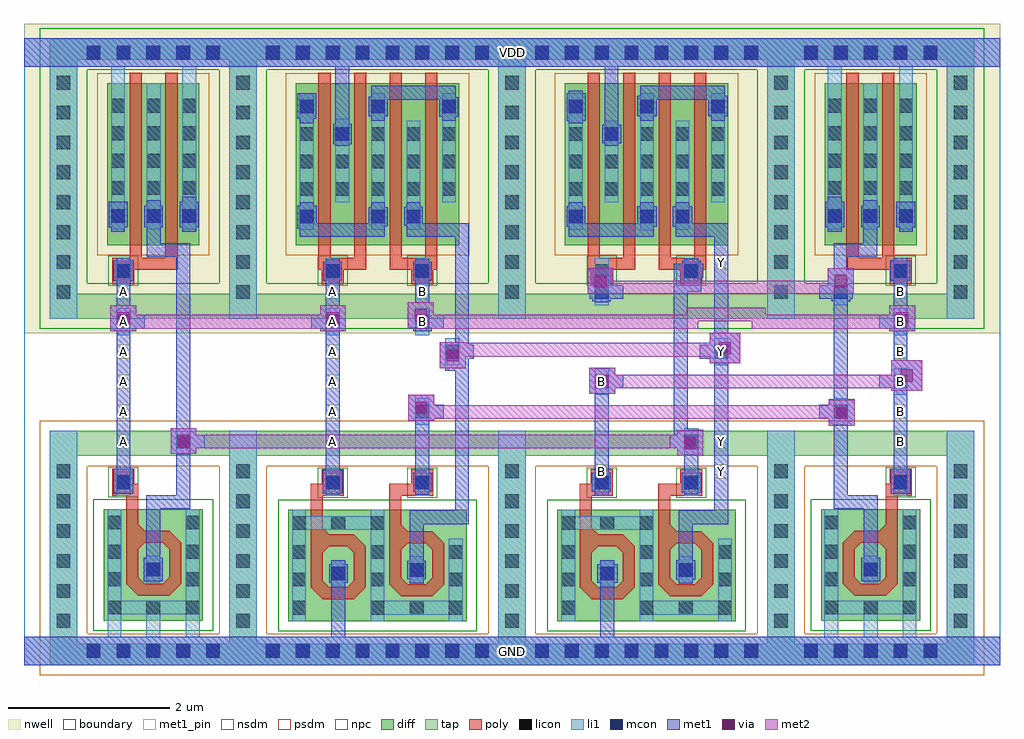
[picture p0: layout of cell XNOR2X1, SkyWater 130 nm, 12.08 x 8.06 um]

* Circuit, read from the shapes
.subckt XNOR2X1 A B GND VDD Y
XM1 GND A n1 GND sky130_fd_pr__nfet_01v8 w=2.56 l=0.1477
XM2 n2 A GND GND sky130_fd_pr__nfet_01v8 w=2.6 l=0.1475
XM3 n2 n3 Y GND sky130_fd_pr__nfet_01v8 w=2.56 l=0.147
XM4 n4 B GND GND sky130_fd_pr__nfet_01v8 w=2.6 l=0.1466
XM5 n4 n1 Y GND sky130_fd_pr__nfet_01v8 w=2.56 l=0.1472
XM6 GND B n3 GND sky130_fd_pr__nfet_01v8 w=2.56 l=0.1476
XM7 n1 A VDD VDD sky130_fd_pr__pfet_01v8 w=2 l=0.15 m=2
XM8 VDD A n5 VDD sky130_fd_pr__pfet_01v8 w=2 l=0.15 m=2
XM9 Y B n5 VDD sky130_fd_pr__pfet_01v8 w=2 l=0.15 m=2
XM10 VDD n3 n6 VDD sky130_fd_pr__pfet_01v8 w=2 l=0.15 m=2
XM11 Y n1 n6 VDD sky130_fd_pr__pfet_01v8 w=2 l=0.15 m=2
XM12 n3 B VDD VDD sky130_fd_pr__pfet_01v8 w=2 l=0.15 m=2
.ends

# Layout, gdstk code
from math import pi, radians
import gdstk
lib = gdstk.Library(unit=1e-6, precision=1e-09)
def R(c, l, rs):  # rectangles x0, y0, x1, y1
    for r in rs: c.add(gdstk.rectangle(r[:2], r[2:], *l))
def A(c, l, x, y, w, h, nx, ny, dx, dy):  # array of equal rectangles
    R(c, l, [(x+i*dx, y+j*dy, x+i*dx+w, y+j*dy+h) for i in range(nx) for j in range(ny)])
def P(c, l, *ps):  # polygons
    for p in ps: c.add(gdstk.Polygon(p, *l))
nwell = (64, 20)
diff = (65, 20)
tap = (65, 44)
poly = (66, 20)
licon = (66, 44)
li1 = (67, 20)
mcon = (67, 44)
met1_pin = (68, 16)
met1 = (68, 20)
via = (68, 44)
met2 = (69, 20)
nsdm = (93, 44)
psdm = (94, 20)
npc = (95, 20)
boundary = (235, 4)

diff_ring_side = lib.new_cell('diff_ring_side')
R(diff_ring_side, nwell, [(-0.435,3.93,0.435,7.75)])
R(diff_ring_side, tap, [(-0.17,-0.17,0.17,2.72), (-0.17,4.11,0.17,7.57)])
A(diff_ring_side, licon, -0.085, 0.285, 0.17, 0.17, 1, 6, 0, 0.37)
A(diff_ring_side, licon, -0.085, 4.355, 0.17, 0.17, 1, 8, 0, 0.37)
R(diff_ring_side, li1, [(-0.17,-0.17,0.17,2.72), (-0.17,4.11,0.17,7.57)])
R(diff_ring_side, met1, [(-0.17,-0.17,0.17,0.17), (-0.17,7.23,0.17,7.57)])
R(diff_ring_side, nsdm, [(-0.295,3.985,0.295,7.695)])
R(diff_ring_side, psdm, [(-0.295,-0.295,0.295,2.845)])

poly_li1_contact = lib.new_cell('poly_li1_contact')
R(poly_li1_contact, poly, [(-0.16,-0.14,0.17,0.13)])
R(poly_li1_contact, licon, [(-0.08,-0.09,0.09,0.08)])
R(poly_li1_contact, li1, [(-0.16,-0.09,0.17,0.08)])
R(poly_li1_contact, npc, [(-0.18,-0.19,0.19,0.18)])

pmos2 = lib.new_cell('pmos2')
R(pmos2, nwell, [(0.26,-2.18,1.76,0.18)])
R(pmos2, diff, [(0.44,-2,1.58,0)])
R(pmos2, poly, [(0.72,-2.305,1.31,-2.155), (0.72,-2.155,0.87,0.13), (1.16,-2.155,1.31,0.13)])
A(pmos2, licon, 0.49, -1.38, 0.17, 0.17, 3, 4, 0.44, 0.34)
R(pmos2, li1, [(0.49,-1.465,0.66,0.21), (0.93,-1.465,1.1,0), (1.37,-1.465,1.54,0.21)])
R(pmos2, psdm, [(0.315,-2.125,1.705,0.125)])

nmos_top = lib.new_cell('nmos_top')
R(nmos_top, diff, [(0,0,1.23,1.38)])
R(nmos_top, poly, [(0.42,0.31,0.8,0.46), (0.27,0.46,0.42,0.965), (0.8,0.46,0.95,0.965), (0.42,0.965,0.95,1.115), (0.8,1.115,0.95,1.54)])
P(nmos_top, poly, [(0.72,1.115),(0.8,1.115),(0.8,1.195)],
  [(0.27,0.965),(0.42,0.965),(0.42,1.115)],
  [(0.42,0.885),(0.42,0.965),(0.5,0.965)],
  [(0.72,0.965),(0.8,0.965),(0.8,0.885)],
  [(0.42,0.54),(0.42,0.46),(0.5,0.46)],
  [(0.72,0.46),(0.8,0.46),(0.8,0.54)],
  [(0.27,0.46),(0.42,0.46),(0.42,0.31)],
  [(0.8,0.31),(0.8,0.46),(0.95,0.46)])
R(nmos_top, licon, [(0.04,0.08,0.21,0.25), (0.53,0.08,0.7,0.25), (1.01,0.08,1.18,0.25), (0.04,0.43,0.21,0.6), (1.01,0.43,1.18,0.6), (0.53,0.55,0.7,0.72), (0.04,0.77,0.21,0.94), (1.01,0.77,1.18,0.94), (0.04,1.13,0.21,1.3), (1.01,1.13,1.18,1.3)])
R(nmos_top, li1, [(0.04,0,0.21,0.08), (1.01,0,1.18,0.08), (0.04,0.08,1.18,0.25), (0.04,0.25,0.21,1.38), (1.01,0.25,1.18,1.38), (0.53,0.47,0.7,0.805)])
R(nmos_top, nsdm, [(-0.125,-0.125,1.355,1.505)])

invx1_pcell = lib.new_cell('invx1_pcell')
R(invx1_pcell, nwell, [(-0.435,3.93,2.655,7.75)])
A(invx1_pcell, diff, 0.59, 5.295, 0.17, 0.17, 3, 1, 0.44, 0)
R(invx1_pcell, tap, [(0.17,-0.17,2.05,0.085), (0.17,2.41,2.05,2.72), (0.17,4.11,2.05,4.42), (0.17,7.315,2.05,7.57)])
R(invx1_pcell, poly, [(0.775,1.905,0.925,2.065)])
A(invx1_pcell, licon, 0.285, -0.085, 0.17, 0.17, 5, 2, 0.37, 7.4)
A(invx1_pcell, licon, 0.59, 5.295, 0.17, 0.17, 3, 1, 0.44, 0)
A(invx1_pcell, li1, 0.59, 5.215, 0.17, 0.37, 3, 1, 0.44, 0)
R(invx1_pcell, li1, [(-0.17,-0.17,2.33,0.17), (0.545,0.17,0.715,0.42), (1.025,0.17,1.195,0.45), (1.515,0.17,1.685,0.45), (1.025,0.92,1.195,1.09), (0.655,2,0.825,2.17), (0.655,4.615,0.825,4.785), (-0.17,7.23,2.39,7.57)])
A(invx1_pcell, mcon, 0.285, -0.085, 0.17, 0.17, 5, 2, 0.37, 7.4)
A(invx1_pcell, mcon, 0.59, 5.295, 0.17, 0.17, 3, 1, 0.44, 0)
R(invx1_pcell, mcon, [(1.025,0.92,1.195,1.09), (0.655,2,0.825,2.17), (0.655,4.615,0.825,4.785)])
R(invx1_pcell, met1, [(-0.17,-0.17,2.39,0.17), (0.99,0.86,1.23,1.15), (1.025,1.15,1.195,1.755), (1.025,1.755,1.565,1.925), (1.395,1.925,1.565,4.875), (0.615,1.94,0.865,2.25), (0.655,2.25,0.825,4.58), (0.62,4.58,0.87,4.83), (0.655,4.83,0.825,4.865), (1.03,4.875,1.565,5.045), (1.03,5.045,1.2,5.24), (0.59,5.185,0.76,5.24), (1.47,5.185,1.64,5.24), (0.56,5.24,0.795,5.555), (1,5.24,1.23,5.505), (1.44,5.24,1.675,5.555), (1.03,5.505,1.2,5.575), (1.47,5.555,1.64,5.62), (-0.17,7.23,2.39,7.57)])
R(invx1_pcell, nsdm, [(0.045,3.985,2.175,4.545), (0.045,7.19,2.175,7.695)])
R(invx1_pcell, psdm, [(0.045,-0.295,2.175,0.21), (0.045,2.285,2.175,2.845), (0.465,5.17,1.765,5.59)])
invx1_pcell.add(gdstk.Reference(poly_li1_contact, (0.735,2.08), rotation=pi/2))
invx1_pcell.add(gdstk.Reference(poly_li1_contact, (0.745,4.705), rotation=3*pi/2))
invx1_pcell.add(gdstk.Reference(pmos2, (0.1,7.02)))
invx1_pcell.add(gdstk.Reference(nmos_top, (1.725,0.37), rotation=pi, x_reflection=True))
invx1_pcell.add(gdstk.Reference(diff_ring_side, (0,0)))
invx1_pcell.add(gdstk.Reference(diff_ring_side, (2.22,0)))

li1_m1_contact = lib.new_cell('li1_M1_contact')
R(li1_m1_contact, li1, [(-0.085,-0.165,0.085,0.165)])
R(li1_m1_contact, mcon, [(-0.085,-0.085,0.085,0.085)])
R(li1_m1_contact, met1, [(-0.115,-0.115,0.115,-0.085), (-0.265,-0.085,0.145,0.085), (-0.115,0.085,0.115,0.115)])

pmos2_1 = lib.new_cell('pmos2_1')
R(pmos2_1, nwell, [(0.26,-2.175,1.76,0.185)])
R(pmos2_1, diff, [(0.44,-1.995,1.58,0.005)])
R(pmos2_1, poly, [(0.72,-2.3,1.31,-2.15), (0.72,-2.15,0.87,0.135), (1.16,-2.15,1.31,0.135)])
A(pmos2_1, licon, 0.49, -1.385, 0.17, 0.17, 3, 3, 0.44, 0.34)
A(pmos2_1, li1, 0.49, -1.465, 0.17, 1.01, 3, 1, 0.44, 0)
R(pmos2_1, psdm, [(0.315,-2.12,1.705,0.13)])

nmos_top_trim1 = lib.new_cell('nmos_top_trim1')
R(nmos_top_trim1, diff, [(0,0,1.24,1.38)])
R(nmos_top_trim1, poly, [(0.43,0.31,0.81,0.46), (0.28,0.46,0.43,0.965), (0.81,0.46,0.96,0.965), (0.43,0.965,0.96,1.115), (0.81,1.115,0.96,1.545)])
P(nmos_top_trim1, poly, [(0.73,1.115),(0.81,1.115),(0.81,1.195)],
  [(0.28,0.965),(0.43,0.965),(0.43,1.115)],
  [(0.43,0.885),(0.43,0.965),(0.51,0.965)],
  [(0.73,0.965),(0.81,0.965),(0.81,0.885)],
  [(0.43,0.54),(0.43,0.46),(0.51,0.46)],
  [(0.73,0.46),(0.81,0.46),(0.81,0.54)],
  [(0.28,0.46),(0.43,0.46),(0.43,0.31)],
  [(0.81,0.31),(0.81,0.46),(0.96,0.46)])
A(nmos_top_trim1, licon, 0.05, 0.08, 0.17, 0.17, 3, 1, 0.485, 0)
R(nmos_top_trim1, licon, [(0.05,0.43,0.22,0.6), (1.02,0.43,1.19,0.6), (0.535,0.55,0.705,0.72), (0.05,0.77,0.22,0.94), (1.02,0.77,1.19,0.94), (1.02,1.13,1.19,1.3)])
R(nmos_top_trim1, li1, [(0.05,0,0.22,0.08), (1.02,0,1.19,0.08), (0.05,0.08,1.19,0.25), (0.05,0.25,0.22,1.02), (1.02,0.25,1.19,1.38), (0.535,0.47,0.705,0.805)])
R(nmos_top_trim1, nsdm, [(-0.125,-0.125,1.365,1.505)])

nmos_bottom = lib.new_cell('nmos_bottom')
R(nmos_bottom, diff, [(0,0,1.24,1.38)])
R(nmos_bottom, poly, [(0.43,0.27,0.81,0.42), (0.28,0.42,0.43,0.925), (0.81,0.42,0.96,0.925), (0.43,0.925,0.96,1.075), (0.81,1.075,0.96,1.51)])
P(nmos_bottom, poly, [(0.73,1.075),(0.81,1.075),(0.81,1.155)],
  [(0.28,0.925),(0.43,0.925),(0.43,1.075)],
  [(0.43,0.845),(0.43,0.925),(0.51,0.925)],
  [(0.73,0.925),(0.81,0.925),(0.81,0.845)],
  [(0.43,0.5),(0.43,0.42),(0.51,0.42)],
  [(0.73,0.42),(0.81,0.42),(0.81,0.5)],
  [(0.28,0.42),(0.43,0.42),(0.43,0.27)],
  [(0.81,0.27),(0.81,0.42),(0.96,0.42)])
A(nmos_bottom, licon, 0.05, 1.13, 0.17, 0.17, 3, 1, 0.485, 0)
R(nmos_bottom, licon, [(0.05,0.08,0.22,0.25), (1.02,0.08,1.19,0.25), (0.05,0.43,0.22,0.6), (1.02,0.43,1.19,0.6), (0.535,0.505,0.705,0.675), (0.05,0.77,0.22,0.94), (1.02,0.77,1.19,0.94)])
R(nmos_bottom, li1, [(0.05,0,0.22,1.13), (1.02,0,1.19,1.13), (0.535,0.425,0.705,0.755), (0.05,1.13,1.19,1.3), (0.05,1.3,0.22,1.38), (1.02,1.3,1.19,1.38)])
R(nmos_bottom, nsdm, [(-0.125,-0.125,1.365,1.505)])

xnor2x1_pcell = lib.new_cell('xnor2x1_pcell')
R(xnor2x1_pcell, nwell, [(2.655,3.93,8.445,4.125), (2.64,4.125,5.13,4.84), (5.97,4.125,8.46,4.84), (2.64,4.84,2.695,7.195), (5.075,4.84,5.13,7.195), (5.97,4.84,6.025,7.2), (8.405,4.84,8.46,7.2), (2.925,6.65,3.095,6.82), (2.64,7.195,5.13,7.23), (5.97,7.2,8.46,7.23), (2.39,7.23,5.38,7.57), (5.72,7.23,8.71,7.57), (2.64,7.57,5.13,7.66), (5.97,7.57,8.46,7.66), (2.655,7.66,8.445,7.75)])
A(xnor2x1_pcell, diff, 2.925, 6.65, 0.17, 0.17, 3, 1, 0.88, 0)
A(xnor2x1_pcell, diff, 6.255, 6.65, 0.17, 0.17, 3, 1, 0.88, 0)
R(xnor2x1_pcell, diff, [(3.805,5.21,3.975,5.97), (7.135,5.21,7.305,5.97), (2.925,5.29,3.095,5.46), (4.245,5.29,4.415,5.46), (6.255,5.29,6.425,5.46), (7.575,5.29,7.745,5.46)])
R(xnor2x1_pcell, tap, [(2.39,-0.17,5.38,0.085), (5.72,-0.17,8.71,0.085), (2.39,2.41,5.395,2.72), (5.705,2.41,8.71,2.72), (2.39,4.11,5.395,4.42), (5.705,4.11,8.71,4.42), (2.39,7.315,5.38,7.57), (5.72,7.315,8.71,7.57)])
R(xnor2x1_pcell, poly, [(3.06,1.875,3.21,1.915), (6.39,1.875,6.54,1.915), (4.03,1.91,4.18,1.915), (7.36,1.91,7.51,1.915), (3.06,1.915,3.195,2.065), (4.03,1.915,4.305,2.065), (6.39,1.915,6.525,2.065), (7.36,1.915,7.635,2.065)])
A(xnor2x1_pcell, licon, 2.505, -0.085, 0.17, 0.17, 8, 2, 0.37, 7.4)
A(xnor2x1_pcell, licon, 5.835, -0.085, 0.17, 0.17, 8, 2, 0.37, 7.4)
A(xnor2x1_pcell, licon, 2.925, 6.65, 0.17, 0.17, 3, 1, 0.88, 0)
A(xnor2x1_pcell, licon, 6.255, 6.65, 0.17, 0.17, 3, 1, 0.88, 0)
R(xnor2x1_pcell, licon, [(2.925,5.29,3.095,5.46), (3.805,5.29,3.975,5.46), (4.245,5.29,4.415,5.46), (6.255,5.29,6.425,5.46), (7.135,5.29,7.305,5.46), (7.575,5.29,7.745,5.46)])
A(xnor2x1_pcell, li1, 2.925, 6.14, 0.17, 0.76, 3, 1, 0.88, 0)
A(xnor2x1_pcell, li1, 6.255, 6.14, 0.17, 0.76, 3, 1, 0.88, 0)
R(xnor2x1_pcell, li1, [(1.935,-0.17,9.135,0.17), (3.315,0.87,3.485,1.04), (6.645,0.87,6.815,1.04), (4.285,0.915,4.455,1.085), (7.615,0.915,7.785,1.085), (3.245,1.995,3.415,2.165), (4.355,1.995,4.525,2.165), (6.575,1.995,6.745,2.165), (7.685,1.995,7.855,2.165), (0.655,4.615,0.825,4.785), (3.245,4.615,3.415,4.785), (4.355,4.615,4.525,4.785), (7.685,4.615,7.855,4.785), (7.135,5.205,7.305,5.97), (2.925,5.21,3.095,5.97), (3.805,5.21,3.975,5.97), (4.245,5.21,4.415,5.97), (6.255,5.21,6.425,5.555), (7.575,5.21,7.745,5.97), (3.365,6.14,3.535,6.585), (6.695,6.31,6.865,6.48), (0.635,7.23,8.77,7.57)])
A(xnor2x1_pcell, mcon, 2.505, -0.085, 0.17, 0.17, 8, 2, 0.37, 7.4)
A(xnor2x1_pcell, mcon, 5.835, -0.085, 0.17, 0.17, 8, 2, 0.37, 7.4)
A(xnor2x1_pcell, mcon, 2.925, 6.65, 0.17, 0.17, 3, 1, 0.88, 0)
A(xnor2x1_pcell, mcon, 6.255, 6.65, 0.17, 0.17, 3, 1, 0.88, 0)
R(xnor2x1_pcell, mcon, [(3.315,0.87,3.485,1.04), (6.645,0.87,6.815,1.04), (4.285,0.915,4.455,1.085), (7.615,0.915,7.785,1.085), (3.245,1.995,3.415,2.165), (4.355,1.995,4.525,2.165), (6.575,1.995,6.745,2.165), (7.685,1.995,7.855,2.165), (0.655,4.615,0.825,4.785), (3.245,4.615,3.415,4.785), (4.355,4.615,4.525,4.785), (7.685,4.615,7.855,4.785), (2.925,5.29,3.095,5.46), (3.805,5.29,3.975,5.46), (4.245,5.29,4.415,5.46), (6.255,5.29,6.425,5.46), (7.135,5.29,7.305,5.46), (7.575,5.29,7.745,5.46), (3.365,6.31,3.535,6.48), (6.695,6.31,6.865,6.48)])
R(xnor2x1_pcell, met1, [(2.39,-0.17,5.38,0.17), (5.72,-0.17,8.71,0.17), (3.315,0.17,3.485,0.84), (6.645,0.17,6.815,0.84), (4.285,0.835,4.455,0.885), (7.615,0.835,7.785,0.875), (3.285,0.84,3.52,1.07), (6.605,0.84,6.86,1.07), (7.58,0.875,7.815,1.12), (4.255,0.885,4.485,1.115), (3.315,1.07,3.485,1.12), (6.645,1.07,6.815,1.12), (4.285,1.115,4.455,1.565), (7.615,1.12,7.785,1.565), (4.285,1.565,5.015,1.735), (7.615,1.565,8.225,1.735), (4.845,1.735,5.015,3.465), (8.055,1.735,8.225,3.555), (6.575,1.915,6.745,1.965), (4.355,1.93,4.525,1.965), (3.245,1.935,3.415,1.95), (7.685,1.935,7.855,1.955), (3.205,1.95,3.455,2.23), (7.65,1.955,7.895,2.205), (4.325,1.965,4.555,2.205), (6.54,1.965,6.775,2.205), (4.355,2.205,4.525,2.845), (6.575,2.205,6.745,3.18), (7.685,2.205,7.855,2.415), (3.245,2.23,3.415,3.955), (7.595,2.415,7.915,2.67), (1.325,2.435,1.645,2.755), (7.555,2.67,7.915,2.735), (7.555,2.735,7.725,4.445), (9.47,2.785,9.79,2.89), (4.265,2.845,4.585,2.875), (4.265,2.875,4.555,3.045), (9.5,2.89,9.79,3.045), (4.265,3.045,4.585,3.165), (9.47,3.045,9.79,3.11), (6.505,3.18,6.825,3.5), (10.245,3.215,10.625,3.595), (4.725,3.465,5.015,3.495), (4.655,3.495,5.015,3.615), (7.995,3.555,8.375,3.935), (4.655,3.615,4.975,3.785), (0.655,3.655,0.825,3.955), (4.655,3.785,5.015,3.815), (4.845,3.815,5.015,5.12), (8.055,3.935,8.225,5.12), (0.58,3.955,0.9,4.275), (3.175,3.955,3.495,4.275), (10.22,3.955,10.54,4.275), (4.26,3.99,4.58,4.31), (0.655,4.275,0.825,4.58), (3.245,4.275,3.415,4.58), (4.355,4.31,4.525,4.58), (6.575,4.31,6.745,4.415), (9.5,4.355,9.525,4.415), (6.485,4.415,6.805,4.735), (9.46,4.415,9.78,4.735), (7.555,4.445,7.895,4.615), (0.615,4.58,0.865,4.825), (3.215,4.58,3.445,4.815), (4.325,4.58,4.555,4.815), (7.555,4.615,7.915,4.79), (7.655,4.79,7.885,4.825), (3.245,4.815,3.415,4.845), (4.355,4.815,4.525,4.845), (0.655,4.825,0.825,4.845), (7.685,4.825,7.855,4.85), (2.925,5.12,3.975,5.225), (4.245,5.12,5.015,5.26), (6.255,5.12,7.305,5.245), (7.575,5.12,8.225,5.245), (2.895,5.225,3.975,5.25), (6.225,5.245,7.34,5.29), (7.54,5.245,8.225,5.29), (2.895,5.25,4.01,5.29), (4.215,5.26,5.015,5.29), (2.895,5.29,3.135,5.505), (3.775,5.29,4.01,5.49), (4.215,5.29,4.445,5.495), (6.225,5.29,6.455,5.5), (7.1,5.29,7.34,5.5), (7.54,5.29,7.78,5.5), (3.805,5.49,3.975,5.55), (4.245,5.495,4.415,5.55), (6.255,5.5,6.425,5.55), (7.135,5.5,7.305,5.55), (7.575,5.5,7.745,5.55), (2.925,5.505,3.095,5.55), (3.365,6.25,3.535,6.27), (6.695,6.25,6.865,6.28), (3.335,6.27,3.565,6.52), (6.665,6.28,6.9,6.51), (6.695,6.51,6.865,7.23), (3.365,6.52,3.535,7.23), (2.925,6.525,3.095,6.585), (6.255,6.53,6.425,6.56), (3.805,6.56,3.975,6.615), (4.685,6.56,4.855,6.61), (6.225,6.56,6.46,6.9), (7.135,6.56,7.305,6.615), (8.015,6.56,8.185,6.615), (2.895,6.585,3.13,6.9), (4.65,6.61,4.885,6.82), (3.775,6.615,4.01,6.82), (7.1,6.615,7.34,6.82), (7.98,6.615,8.22,6.82), (3.775,6.82,4.885,6.85), (7.1,6.82,8.22,6.87), (3.775,6.85,4.855,6.855), (3.805,6.855,4.855,6.99), (7.135,6.87,8.185,6.99), (6.255,6.9,6.425,6.93), (2.39,7.23,5.38,7.57), (5.72,7.23,8.71,7.57)])
R(xnor2x1_pcell, via, [(7.68,2.495,7.83,2.645), (1.41,2.52,1.56,2.67), (9.555,2.87,9.705,3.02), (4.35,2.93,4.5,3.08), (6.59,3.265,6.74,3.415), (10.36,3.33,10.51,3.48), (4.74,3.58,4.89,3.73), (8.11,3.67,8.26,3.82), (0.665,4.04,0.815,4.19), (3.26,4.04,3.41,4.19), (10.305,4.04,10.455,4.19), (4.345,4.075,4.495,4.225), (6.57,4.5,6.72,4.65), (9.545,4.5,9.695,4.65)])
R(xnor2x1_pcell, met2, [(7.595,2.41,7.915,2.505), (1.325,2.435,1.645,2.505), (1.325,2.505,7.915,2.675), (1.325,2.675,1.645,2.755), (7.595,2.675,7.915,2.73), (9.47,2.785,9.79,2.87), (4.265,2.845,4.585,2.87), (4.265,2.87,9.79,3.04), (4.265,3.04,4.585,3.165), (9.47,3.04,9.79,3.105), (6.505,3.18,6.825,3.245), (10.245,3.215,10.625,3.245), (6.505,3.245,10.625,3.415), (6.505,3.415,6.825,3.5), (10.245,3.415,10.625,3.595), (4.655,3.495,4.975,3.64), (7.995,3.555,8.375,3.64), (4.655,3.64,8.375,3.81), (4.655,3.81,4.975,3.815), (7.995,3.81,8.375,3.935), (0.58,3.955,0.9,3.985), (3.175,3.955,3.495,3.985), (10.22,3.955,10.54,3.985), (0.58,3.985,3.495,4.155), (4.555,3.985,7.855,3.99), (8.515,3.985,10.54,4.075), (4.26,3.99,7.855,4.075), (4.26,4.075,10.54,4.155), (0.58,4.155,0.9,4.275), (3.175,4.155,3.495,4.275), (4.26,4.155,4.58,4.31), (7.715,4.155,8.69,4.245), (10.22,4.155,10.54,4.275), (6.485,4.415,9.78,4.58), (6.485,4.58,6.805,4.735), (9.46,4.58,9.78,4.735)])
R(xnor2x1_pcell, nsdm, [(2.265,3.985,8.835,4.545), (2.265,7.19,8.835,7.695)])
A(xnor2x1_pcell, psdm, 2.8, 6.525, 0.42, 0.42, 3, 1, 0.88, 0)
A(xnor2x1_pcell, psdm, 6.13, 6.525, 0.42, 0.42, 3, 1, 0.88, 0)
R(xnor2x1_pcell, psdm, [(2.265,-0.295,8.835,0.21), (2.265,2.285,8.835,2.845), (3.68,5.085,4.1,5.165), (7.01,5.085,7.43,5.165), (2.8,5.165,3.22,5.585), (3.68,5.165,4.54,5.585), (6.13,5.165,6.55,5.585), (7.01,5.165,7.87,5.585), (3.68,5.585,4.1,6.095), (7.01,5.585,7.43,6.095)])
xnor2x1_pcell.add(gdstk.Reference(diff_ring_side, (2.22,0)))
xnor2x1_pcell.add(gdstk.Reference(invx1_pcell, (0,0)))
xnor2x1_pcell.add(gdstk.Reference(li1_m1_contact, (0.74,4.07), rotation=pi))
xnor2x1_pcell.add(gdstk.Reference(li1_m1_contact, (1.48,2.59), rotation=pi))
xnor2x1_pcell.add(gdstk.Reference(poly_li1_contact, (3.335,2.085), rotation=3*pi/2))
xnor2x1_pcell.add(gdstk.Reference(poly_li1_contact, (3.335,4.705), rotation=3*pi/2))
xnor2x1_pcell.add(gdstk.Reference(pmos2_1, (3.315,7.015)))
xnor2x1_pcell.add(gdstk.Reference(pmos2_1, (2.435,7.015)))
xnor2x1_pcell.add(gdstk.Reference(nmos_top_trim1, (4.99,0.365), rotation=pi, x_reflection=True))
xnor2x1_pcell.add(gdstk.Reference(nmos_bottom, (4.02,0.365), rotation=pi, x_reflection=True))
xnor2x1_pcell.add(gdstk.Reference(li1_m1_contact, (3.33,4.07)))
xnor2x1_pcell.add(gdstk.Reference(poly_li1_contact, (4.445,4.705), rotation=3*pi/2))
xnor2x1_pcell.add(gdstk.Reference(poly_li1_contact, (4.445,2.085), rotation=3*pi/2))
xnor2x1_pcell.add(gdstk.Reference(li1_m1_contact, (4.44,2.96), rotation=pi))
xnor2x1_pcell.add(gdstk.Reference(li1_m1_contact, (4.81,3.7), rotation=pi))
xnor2x1_pcell.add(gdstk.Reference(li1_m1_contact, (4.44,4.07), rotation=pi))
xnor2x1_pcell.add(gdstk.Reference(diff_ring_side, (5.55,0)))
xnor2x1_pcell.add(gdstk.Reference(poly_li1_contact, (6.665,4.705), rotation=3*pi/2))
xnor2x1_pcell.add(gdstk.Reference(poly_li1_contact, (6.665,2.085), rotation=3*pi/2))
xnor2x1_pcell.add(gdstk.Reference(pmos2_1, (6.645,7.015)))
xnor2x1_pcell.add(gdstk.Reference(pmos2_1, (5.765,7.015)))
xnor2x1_pcell.add(gdstk.Reference(nmos_top_trim1, (8.32,0.365), rotation=pi, x_reflection=True))
xnor2x1_pcell.add(gdstk.Reference(nmos_bottom, (7.35,0.365), rotation=pi, x_reflection=True))
xnor2x1_pcell.add(gdstk.Reference(li1_m1_contact, (6.66,3.33), rotation=pi))
xnor2x1_pcell.add(gdstk.Reference(li1_m1_contact, (6.66,4.44), rotation=pi))
xnor2x1_pcell.add(gdstk.Reference(poly_li1_contact, (7.775,4.705), rotation=3*pi/2))
xnor2x1_pcell.add(gdstk.Reference(poly_li1_contact, (7.775,2.085), rotation=3*pi/2))
xnor2x1_pcell.add(gdstk.Reference(li1_m1_contact, (8.14,3.7)))
xnor2x1_pcell.add(gdstk.Reference(li1_m1_contact, (7.77,2.59)))
xnor2x1_pcell.add(gdstk.Reference(diff_ring_side, (8.88,0)))
xnor2x1_pcell.add(gdstk.Reference(invx1_pcell, (11.1,0), rotation=pi, x_reflection=True))
xnor2x1_pcell.add(gdstk.Reference(li1_m1_contact, (9.62,2.96)))
xnor2x1_pcell.add(gdstk.Reference(li1_m1_contact, (10.36,4.07)))
xnor2x1_pcell.add(gdstk.Reference(li1_m1_contact, (9.62,4.44)))
xnor2x1_pcell.add(gdstk.Reference(li1_m1_contact, (10.36,3.33)))

xnor2x1 = lib.new_cell('XNOR2X1')
R(xnor2x1, nwell, [(0,4.11,12.08,7.94)])
R(xnor2x1, tap, [(0.32,0,11.76,0.045), (0.32,7.745,11.76,7.76)])
R(xnor2x1, li1, [(0,0,12.08,0.35), (0,7.41,12.08,7.76)])
A(xnor2x1, met1_pin, 1.145, 2.685, 0.17, 0.17, 1, 6, 0, 0.37)
A(xnor2x1, met1_pin, 3.735, 2.685, 0.17, 0.17, 1, 6, 0, 0.37)
A(xnor2x1, met1_pin, 8.545, 2.685, 0.17, 0.17, 1, 3, 0, 1.11)
A(xnor2x1, met1_pin, 10.765, 2.685, 0.17, 0.17, 1, 6, 0, 0.37)
R(xnor2x1, met1_pin, [(0,0,12.08,0.35), (7.065,2.315,7.235,2.485), (8.545,2.315,8.715,2.485), (7.065,3.425,7.235,3.595), (4.845,4.165,5.015,4.335), (4.845,4.535,5.015,4.705), (0,7.41,12.08,7.76)])
A(xnor2x1, met1, 1.145, 2.685, 0.17, 0.17, 1, 6, 0, 0.37)
A(xnor2x1, met1, 3.735, 2.685, 0.17, 0.17, 1, 6, 0, 0.37)
A(xnor2x1, met1, 8.545, 2.685, 0.17, 0.17, 1, 3, 0, 1.11)
A(xnor2x1, met1, 10.765, 2.685, 0.17, 0.17, 1, 6, 0, 0.37)
R(xnor2x1, met1, [(0,0,12.08,0.35), (7.065,2.315,7.235,2.485), (8.545,2.315,8.715,2.485), (7.065,3.425,7.235,3.595), (4.845,4.165,5.015,4.335), (4.845,4.535,5.015,4.705), (0,7.41,12.08,7.76)])
R(xnor2x1, nsdm, [(0.195,7.62,11.885,7.885)])
R(xnor2x1, psdm, [(0.195,-0.125,11.885,0.17)])
R(xnor2x1, boundary, [(0,0,12.08,7.76)])
xnor2x1.add(gdstk.Reference(xnor2x1_pcell, (0.49,0.18)))
xnor2x1.add(gdstk.Label('Y', (8.63,4.99), layer=68, texttype=5))
xnor2x1.add(gdstk.Label('Y', (8.63,2.4), layer=68, texttype=5))
xnor2x1.add(gdstk.Label('Y', (8.63,2.77), layer=68, texttype=5))
xnor2x1.add(gdstk.Label('Y', (8.63,3.88), layer=68, texttype=5))
xnor2x1.add(gdstk.Label('A', (3.82,4.62), layer=68, texttype=5))
xnor2x1.add(gdstk.Label('A', (3.82,4.25), layer=68, texttype=5))
xnor2x1.add(gdstk.Label('A', (3.82,3.88), layer=68, texttype=5))
xnor2x1.add(gdstk.Label('A', (3.82,3.51), layer=68, texttype=5))
xnor2x1.add(gdstk.Label('A', (3.82,3.14), layer=68, texttype=5))
xnor2x1.add(gdstk.Label('A', (3.82,2.77), layer=68, texttype=5))
xnor2x1.add(gdstk.Label('A', (1.23,2.77), layer=68, texttype=5))
xnor2x1.add(gdstk.Label('A', (1.23,3.14), layer=68, texttype=5))
xnor2x1.add(gdstk.Label('A', (1.23,3.51), layer=68, texttype=5))
xnor2x1.add(gdstk.Label('A', (1.23,3.88), layer=68, texttype=5))
xnor2x1.add(gdstk.Label('A', (1.23,4.25), layer=68, texttype=5))
xnor2x1.add(gdstk.Label('A', (1.23,4.62), layer=68, texttype=5))
xnor2x1.add(gdstk.Label('B', (4.93,4.62), layer=68, texttype=5))
xnor2x1.add(gdstk.Label('B', (7.15,2.4), layer=68, texttype=5))
xnor2x1.add(gdstk.Label('B', (7.15,3.51), layer=68, texttype=5))
xnor2x1.add(gdstk.Label('B', (4.93,4.25), layer=68, texttype=5))
xnor2x1.add(gdstk.Label('B', (10.85,4.62), layer=68, texttype=5))
xnor2x1.add(gdstk.Label('B', (10.85,4.25), layer=68, texttype=5))
xnor2x1.add(gdstk.Label('B', (10.85,2.77), layer=68, texttype=5))
xnor2x1.add(gdstk.Label('B', (10.85,3.88), layer=68, texttype=5))
xnor2x1.add(gdstk.Label('B', (10.85,3.14), layer=68, texttype=5))
xnor2x1.add(gdstk.Label('B', (10.85,3.51), layer=68, texttype=5))
xnor2x1.add(gdstk.Label('VDD', (6.04,7.585), layer=68, texttype=5))
xnor2x1.add(gdstk.Label('GND', (6.04,0.175), layer=68, texttype=5))

lib.write_gds('XNOR2X1.gds')
